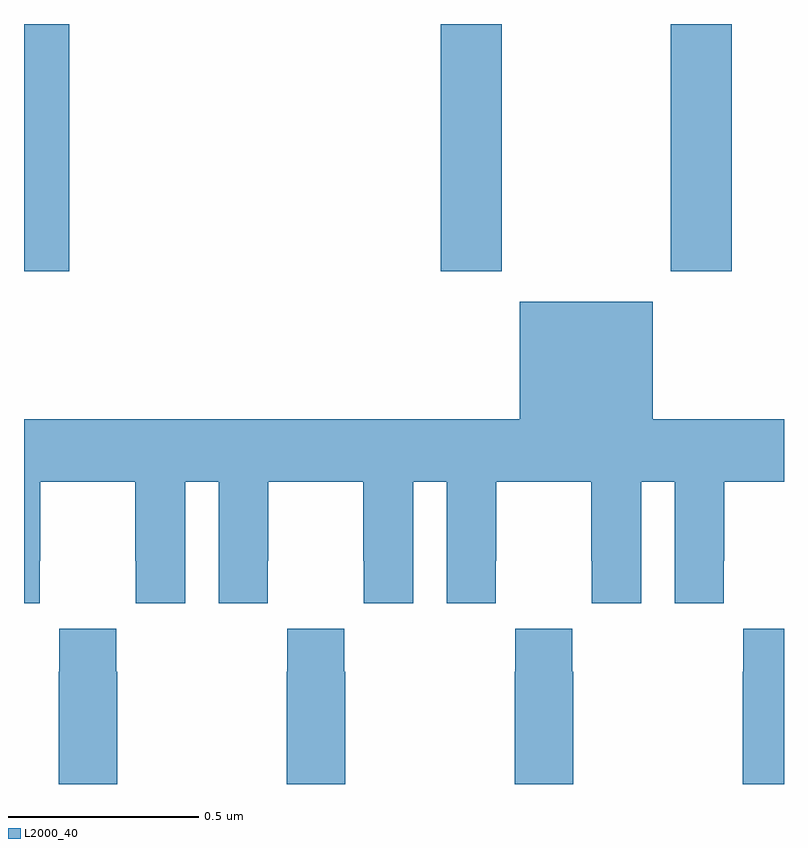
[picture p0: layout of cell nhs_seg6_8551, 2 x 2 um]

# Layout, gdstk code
import gdstk
lib = gdstk.Library(unit=1e-6, precision=1e-09)
def R(c, l, rs):  # rectangles x0, y0, x1, y1
    for r in rs: c.add(gdstk.rectangle(r[:2], r[2:], *l))
def P(c, l, *ps):  # polygons
    for p in ps: c.add(gdstk.Polygon(p, *l))
L2000_40 = (2000, 40)

nhs_seg6_8551 = lib.new_cell('nhs_seg6_8551')
R(nhs_seg6_8551, L2000_40, [(222,987.849,222.119,988.5), (223.097,987.849,223.257,988.5), (223.702,987.849,223.862,988.5)])
P(nhs_seg6_8551, L2000_40, [(222.042,987.088),(222.043,987.088),(222.043,987.296),(222.293,987.296),(222.293,987.088),(222.294,987.088),(222.294,986.976),(222.424,986.976),(222.424,987.296),(222.512,987.296),(222.512,986.976),(222.642,986.976),(222.642,987.088),(222.643,987.088),(222.643,987.296),(222.893,987.296),(222.893,987.088),(222.894,987.088),(222.894,986.976),(223.024,986.976),(223.024,987.296),(223.112,987.296),(223.112,986.976),(223.242,986.976),(223.242,987.088),(223.243,987.088),(223.243,987.296),(223.493,987.296),(223.493,987.088),(223.494,987.088),(223.494,986.976),(223.624,986.976),(223.624,987.296),(223.712,987.296),(223.712,986.976),(223.842,986.976),(223.842,987.088),(223.843,987.088),(223.843,987.296),(224,987.296),(224,987.46),(223.654,987.46),(223.654,987.769),(223.304,987.769),(223.304,987.46),(222,987.46),(222,986.976),(222.042,986.976)],
  [(222.246,986.795),(222.243,986.795),(222.243,986.908),(222.093,986.908),(222.093,986.795),(222.091,986.795),(222.091,986.5),(222.246,986.5)],
  [(222.846,986.795),(222.843,986.795),(222.843,986.908),(222.693,986.908),(222.693,986.795),(222.691,986.795),(222.691,986.5),(222.846,986.5)],
  [(223.446,986.795),(223.443,986.795),(223.443,986.908),(223.293,986.908),(223.293,986.795),(223.291,986.795),(223.291,986.5),(223.446,986.5)],
  [(224,986.908),(223.893,986.908),(223.893,986.795),(223.891,986.795),(223.891,986.5),(224,986.5)])

lib.write_gds('nhs_seg6_8551.gds')
